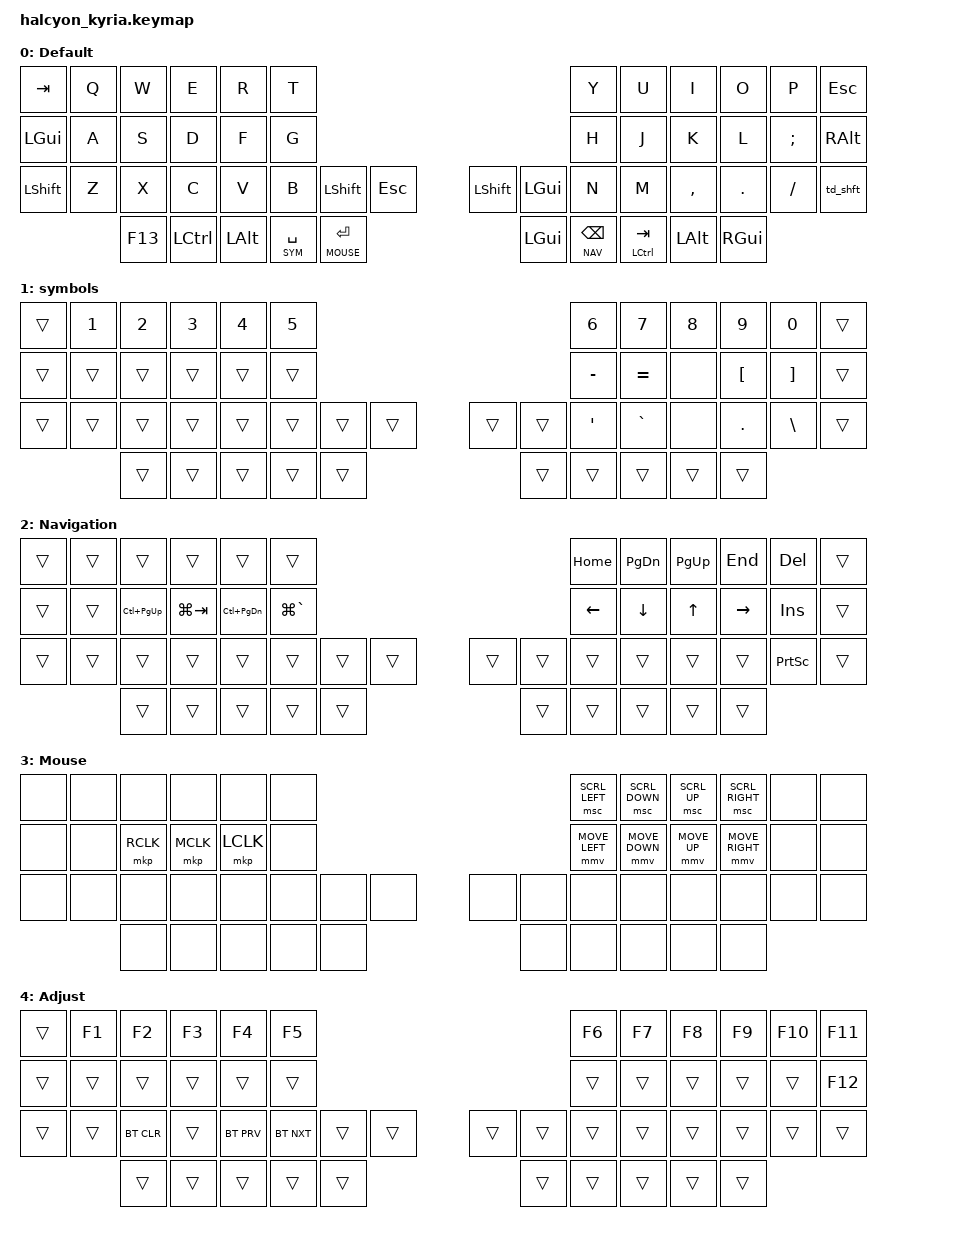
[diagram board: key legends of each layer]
/*
 * Copyright (c) 2023 The ZMK Contributors
 * Copyright (c) 2026 Splitkb.com
 *
 * SPDX-License-Identifier: MIT
 */

#include <behaviors.dtsi>
#include <dt-bindings/zmk/bt.h>
#include <dt-bindings/zmk/keys.h>
#include <dt-bindings/zmk/rgb.h>
#include <dt-bindings/zmk/ext_power.h>
#include <dt-bindings/zmk/mouse.h>

#define DEFAULT 0
#define SYM     1
#define NAV     2
#define MOUSE   3
#define ADJUST  4

/ {
	behaviors {
		qht: quick_hold_tap {
		compatible = "zmk,behavior-hold-tap";
		label = "Q_HOLD_TAP";
		#binding-cells = <2>;
		flavor = "hold-preferred";
		tapping-term-ms = <220>;
		quick-tap-ms = <200>;
		bindings = <&mo>, <&kp>;
		};
		jht: just_hold_tap {
		compatible = "zmk,behavior-hold-tap";
		label = "J_HOLD_TAP";
		#binding-cells = <2>;
		flavor = "hold-preferred";
		tapping-term-ms = <220>;
		bindings = <&mo>, <&kp>;
		};
		mht: mouse_hold_tap {
		compatible = "zmk,behavior-hold-tap";
		label = "M_HOLD_TAP";
		#binding-cells = <2>;
		flavor = "balanced";
		tapping-term-ms = <220>;
		quick-tap-ms = <200>;
		bindings = <&mo>, <&kp>;
		};

		td_shft: tap_dance_shift {
			compatible = "zmk,behavior-tap-dance";
			label = "TAP_DANCE_SHIFT";
			#binding-cells = <0>;
			tapping-term-ms = <200>;
			bindings = <&kp RSHFT>, <&caps_word>;
		};
	};

	conditional_layers {
		compatible = "zmk,conditional-layers";
		tri_adjust {
			if-layers = <SYM NAV>;
			then-layer = <ADJUST>;
		};
	};

    keymap {
        compatible = "zmk,keymap";

        qwerty_layer {
            display-name = "Default";
// ---------------------------------------------------------------------------------------------------------------------------------
// |  ESC  |  Q  |  W  |  E   |  R   |  T   |                                          |  Y   |  U    |  I    |  O   |   P   |  ESC |
// | COMM  |  A  |  S  |  D   |  F   |  G   |                                          |  H   |  J    |  K    |  L   |   ;   | RALT |
// | SHIFT |  Z  |  X  |  C   |  V   |  B   | L SHIFT |   ESC   |  | L SHIFT | L SHIFT |  N   |  M    |  ,    |  .   |   /   | SHFT |
//                     |  FN  | CTRL | OPT  |  SPACE  |   RET   |  |   COMM  |  SPACE  | TAB  | BSPC  | R-ALT |
			bindings = <
	&kp TAB   &kp Q &kp W    &kp E     &kp R    &kp T                                                     &kp Y &kp U  &kp I     &kp O   &kp P    &kp ESC
	&kp LGUI  &kp A &kp S    &kp D     &kp F    &kp G                                                     &kp H &kp J  &kp K     &kp L   &kp SEMI &kp RALT
	&kp LSHFT &kp Z &kp X    &kp C     &kp V    &kp B &kp LSHFT   &kp ESC              &kp LSHFT &kp LGUI &kp N &kp M  &kp COMMA &kp DOT &kp FSLH &td_shft
                    &kp F13  &kp LCTRL &kp LALT &jht SYM SPACE &mht MOUSE RET    &kp LGUI  &qht NAV BSPC &mt LCTRL TAB &kp LALT &kp RGUI
			>;

        };

		symbol_layer {
            display-name = "symbols";
// ---------------------------------------------------------------------------------------------------------------------------------
// |       |  1  |  2  |  3   |  4   |  5   |                                          |  6   |  7    |  8    |  9   |  0    |      |
// |       |     |     |      |      |      |                                          | - _  | = +   |       | [ {  | ] }   |      |
// |       |     |     |      |      |      |         |         |  |         |         | ' "  | ` ~   |       |      | \ |   |      |
//                     |      |      |      |         |         |  |         |         |      |       |       |
			bindings = <
	&trans &kp N1 &kp N2 &kp N3 &kp N4 &kp N5                                         &kp N6    &kp N7    &kp N8 &kp N9   &kp N0   &trans
	&trans &trans &trans &trans &trans &trans                                         &kp MINUS &kp EQUAL &none  &kp LBKT &kp RBKT &trans
	&trans &trans &trans &trans &trans &trans &trans &trans             &trans &trans &kp APOS  &kp GRAVE &none  &kp DOT  &kp BSLH &trans
                         &trans &trans &trans &trans &trans             &trans &trans &trans &trans &trans
			>;

		};

        navigation_layer {
            display-name = "Navigation";
// ---------------------------------------------------------------------------------------------------------------------------------
// |       |     |      |      |      |      |                                          | Home | PgDn  | PgUp  | End  | Del   |      |
// |       |     |CmdPgU|CmdTab|CmdPgD|CmdGra|                                          | Left | Down  | Up    | Right| Ins   |      |
// |       |     |      |      |      |      |         |         |  |         |         |      |       |       |      | PSCR  |      |
//                      |      |      |      |         |         |  |         |         |      |       |       |
			bindings = <
	&trans &trans &trans        &trans      &trans        &trans                               &kp HOME &kp PG_DN &kp PG_UP &kp END   &kp DEL   &trans
	&trans &trans &kp LC(PG_UP) &kp LG(TAB) &kp LC(PG_DN) &kp LG(GRAVE)                        &kp LEFT &kp DOWN  &kp UP    &kp RIGHT &kp INS   &trans
	&trans &trans &trans        &trans      &trans        &trans &trans &trans   &trans &trans &trans   &trans    &trans    &trans    &kp PSCRN &trans
                                &trans      &trans        &trans &trans &trans   &trans &trans &trans   &trans    &trans
			>;
        };

		mouse_layer {
            display-name = "Mouse";
// ---------------------------------------------------------------------------------------------------------------------------------
// |       |     |      |      |      |      |                                          |      |       |       |      |       |      |
// |       |     |      |RClick|MClick|LClick|                                          | Left | Down  | Up    | Right|       |      |
// |       |     |      |      |      |      |         |         |  |         |         |      |       |       |      |       |      |
//                      |      |      |      |         |         |  |         |         |      |       |       |
			bindings = <
	&none &none &none       &none     &none     &none                           &msc SCRL_LEFT &msc SCRL_DOWN &msc SCRL_UP &msc SCRL_RIGHT &none &none
	&none &none &mkp RCLK   &mkp MCLK &mkp LCLK &none                           &mmv MOVE_LEFT &mmv MOVE_DOWN &mmv MOVE_UP &mmv MOVE_RIGHT &none &none
	&none &none &none       &none     &none     &none &none &none   &none &none &none          &none          &none        &none           &none &none
                            &none     &none     &none &none &none   &none &none &none          &none          &none
			>;

		};

        adjust_layer {
            display-name = "Adjust";
// ---------------------------------------------------------------------------------------------------------------------------------
// |       |  F1  |  F2  |  F3  |  F4  |  F5  |                                          |  F6  |  F7   |  F8   |  F9  |  F10  |      |
// |       |      |      |      |      |      |                                          |      |       |       |  F11 |  F12  |      |
// |       |      |BT CLR|      |BT PRV|BT NXT|         |         |  |         |         |      |       |       |      |       |      |
//                       |      |      |      |         |         |  |         |         |      |       |       |
			bindings = <
	&trans &kp F1 &kp F2 &kp F3 &kp F4 &kp F5                                                     &kp F6 &kp F7 &kp F8 &kp F9  &kp F10 &kp F11
	&trans &trans &trans &trans &trans &trans                                                     &trans &trans &trans &trans  &trans  &kp F12
	&trans &trans &bt BT_CLR &trans &bt BT_PRV &bt BT_NXT &trans &trans             &trans &trans &trans &trans &trans &trans  &trans  &trans
                             &trans &trans     &trans     &trans &trans             &trans &trans &trans &trans &trans
			>;
        };
    };
};
